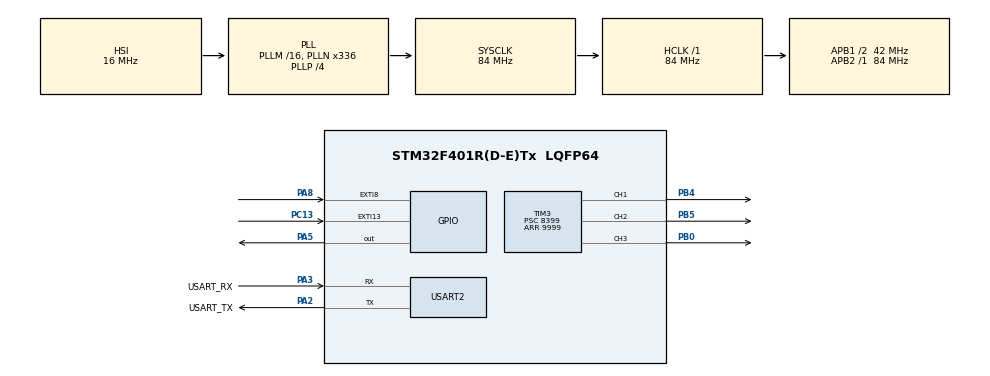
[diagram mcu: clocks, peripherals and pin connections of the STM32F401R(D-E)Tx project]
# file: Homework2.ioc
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Mcu.Family=STM32F4
Mcu.Name=STM32F401R(D-E)Tx
Mcu.Package=LQFP64
NVIC.EXTI15_10_IRQn=true\:0\:0\:false\:false\:true\:true\:true\:true
NVIC.EXTI9_5_IRQn=true\:0\:0\:false\:false\:true\:true\:true\:true
NVIC.PriorityGroup=NVIC_PRIORITYGROUP_0
NVIC.TIM3_IRQn=true\:0\:0\:false\:false\:true\:true\:true\:true
PA13.GPIO_Label=TMS
PA13.Mode=Serial_Wire
PA13.Signal=SYS_JTMS-SWDIO
PA14.GPIO_Label=TCK
PA14.Mode=Serial_Wire
PA14.Signal=SYS_JTCK-SWCLK
PA2.GPIO_Label=USART_TX
PA2.GPIO_Mode=GPIO_MODE_AF_PP
PA2.GPIO_PuPd=GPIO_NOPULL
PA2.GPIO_Speed=GPIO_SPEED_FREQ_LOW
PA2.Mode=Asynchronous
PA2.Signal=USART2_TX
PA3.GPIO_Label=USART_RX
PA3.GPIO_Mode=GPIO_MODE_AF_PP
PA3.GPIO_PuPd=GPIO_NOPULL
PA3.GPIO_Speed=GPIO_SPEED_FREQ_LOW
PA3.Mode=Asynchronous
PA3.Signal=USART2_RX
PA5.Signal=GPIO_Output
PA8.Signal=GPXTI8
PB0.Signal=S_TIM3_CH3
PB3.GPIO_Label=SWO
PB3.Signal=SYS_JTDO-SWO
PB4.Signal=S_TIM3_CH1
PB5.Signal=S_TIM3_CH2
PC13-ANTI_TAMP.GPIO_ModeDefaultEXTI=GPIO_MODE_IT_RISING_FALLING
PC13-ANTI_TAMP.Signal=GPXTI13
PC14-OSC32_IN.Mode=LSE-External-Oscillator
PC14-OSC32_IN.Signal=RCC_OSC32_IN
PC15-OSC32_OUT.Mode=LSE-External-Oscillator
PC15-OSC32_OUT.Signal=RCC_OSC32_OUT
PH0\ -\ OSC_IN.Mode=HSE-External-Clock-Source
PH0\ -\ OSC_IN.Signal=RCC_OSC_IN
PH1\ -\ OSC_OUT.Mode=HSE-External-Clock-Source
PH1\ -\ OSC_OUT.Signal=RCC_OSC_OUT
ProjectManager.HeapSize=0x200
ProjectManager.StackSize=0x400
ProjectManager.TargetToolchain=STM32CubeIDE
RCC.48MHZClocksFreq_Value=48000000
RCC.AHBFreq_Value=84000000
RCC.APB1CLKDivider=RCC_HCLK_DIV2
RCC.APB1Freq_Value=42000000
RCC.APB1TimFreq_Value=84000000
RCC.APB2Freq_Value=84000000
RCC.APB2TimFreq_Value=84000000
RCC.CortexFreq_Value=84000000
RCC.HCLKFreq_Value=84000000
RCC.HSE_VALUE=8000000
RCC.HSI_VALUE=16000000
RCC.PLLN=336
RCC.PLLP=RCC_PLLP_DIV4
RCC.PLLQ=7
RCC.SYSCLKFreq_VALUE=84000000
RCC.SYSCLKSource=RCC_SYSCLKSOURCE_PLLCLK
RCC.VCOOutputFreq_Value=336000000
SH.S_TIM3_CH1.0=TIM3_CH1,PWM Generation1 CH1
SH.S_TIM3_CH2.0=TIM3_CH2,PWM Generation2 CH2
SH.S_TIM3_CH3.0=TIM3_CH3,PWM Generation3 CH3
TIM2.AutoReloadPreload=TIM_AUTORELOAD_PRELOAD_DISABLE
TIM2.Period=9999
TIM2.Prescaler=8399
TIM3.Channel-PWM\ Generation1\ CH1=TIM_CHANNEL_1
TIM3.Channel-PWM\ Generation2\ CH2=TIM_CHANNEL_2
TIM3.Channel-PWM\ Generation3\ CH3=TIM_CHANNEL_3
TIM3.Period=9999
TIM3.Prescaler=8399
TIM3.Pulse-PWM\ Generation1\ CH1=999
TIM3.Pulse-PWM\ Generation2\ CH2=4999
TIM3.Pulse-PWM\ Generation3\ CH3=9999
USART2.VirtualMode=VM_ASYNC
VP_TIM2_VS_ClockSourceINT.Mode=Internal
board=NUCLEO-F401RE

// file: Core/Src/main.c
/* USER CODE BEGIN Header */
/**
  ******************************************************************************
  * @file           : main.c
  * @brief          : Main program body
  ******************************************************************************
  * @attention
  *
  * Copyright (c) 2024 STMicroelectronics.
  * All rights reserved.
  *
  * This software is licensed under terms that can be found in the LICENSE file
  * in the root directory of this software component.
  * If no LICENSE file comes with this software, it is provided AS-IS.
  *
  ******************************************************************************
  */
/* USER CODE END Header */
#include "main.h"

/* USER CODE BEGIN PD */
#define BluePB GPIOC, GPIO_PIN_13
#define LD2 GPIOA, GPIO_PIN_5
#define Mic GPIOC, GPIO_PIN_8
/* USER CODE END PD */

TIM_HandleTypeDef htim2;
TIM_HandleTypeDef htim3;

UART_HandleTypeDef huart2;

void SystemClock_Config(void);
static void MX_GPIO_Init(void);
static void MX_USART2_UART_Init(void);
static void MX_TIM2_Init(void);
static void MX_TIM3_Init(void);

/* USER CODE BEGIN 0 */
//int flag = 0;
int last_tick, tick, delta;

void HAL_GPIO_EXTI_Callback(uint16_t GPIO_Pin) {
	switch (GPIO_Pin) {
		 case GPIO_PIN_13: {
            //if (HAL_GPIO_ReadPin(BluePB) == GPIO_PIN_RESET) flag = !flag;
			//HAL_GPIO_WritePin(LD2, flag);
            HAL_GPIO_TogglePin(LD2);
            // NVIC -> Enable EXTI
            // EXTI -> Interrupt mode with Rising/Falling Edges
            break;
		 }
		 case GPIO_PIN_8: {
			 tick = HAL_GetTick();
				delta = tick - last_tick;
				if (delta >= 100) {
					HAL_GPIO_TogglePin(LD2);
					last_tick = tick;
				}
			 break;
		 }
        default:
            break;
	}
}
/* USER CODE END 0 */

int main(void)
{

  /* MCU Configuration--------------------------------------------------------*/

  /* Reset of all peripherals, Initializes the Flash interface and the Systick. */
  HAL_Init();

  /* Configure the system clock */
  SystemClock_Config();

  /* Initialize all configured peripherals */
  MX_GPIO_Init();
  MX_USART2_UART_Init();
  MX_TIM2_Init();
  MX_TIM3_Init();
  /* USER CODE BEGIN 2 */
  //HAL_TIM_PWM_Start(&htim2, TIM_CHANNEL_1);
  HAL_TIM_PWM_Start(&htim3, TIM_CHANNEL_1);
  HAL_TIM_PWM_Start(&htim3, TIM_CHANNEL_2);
  HAL_TIM_PWM_Start(&htim3, TIM_CHANNEL_3);
  /* USER CODE END 2 */

  /* Infinite loop */
  while (1)
  {

  }
}

void SystemClock_Config(void)
{
  RCC_OscInitTypeDef RCC_OscInitStruct = {0};
  RCC_ClkInitTypeDef RCC_ClkInitStruct = {0};

  /** Configure the main internal regulator output voltage
  */
  __HAL_RCC_PWR_CLK_ENABLE();
  __HAL_PWR_VOLTAGESCALING_CONFIG(PWR_REGULATOR_VOLTAGE_SCALE2);

  /** Initializes the RCC Oscillators according to the specified parameters
  * in the RCC_OscInitTypeDef structure.
  */
  RCC_OscInitStruct.OscillatorType = RCC_OSCILLATORTYPE_HSI;
  RCC_OscInitStruct.HSIState = RCC_HSI_ON;
  RCC_OscInitStruct.HSICalibrationValue = RCC_HSICALIBRATION_DEFAULT;
  RCC_OscInitStruct.PLL.PLLState = RCC_PLL_ON;
  RCC_OscInitStruct.PLL.PLLSource = RCC_PLLSOURCE_HSI;
  RCC_OscInitStruct.PLL.PLLM = 16;
  RCC_OscInitStruct.PLL.PLLN = 336;
  RCC_OscInitStruct.PLL.PLLP = RCC_PLLP_DIV4;
  RCC_OscInitStruct.PLL.PLLQ = 7;
  if (HAL_RCC_OscConfig(&RCC_OscInitStruct) != HAL_OK)
  {
    Error_Handler();
  }

  /** Initializes the CPU, AHB and APB buses clocks
  */
  RCC_ClkInitStruct.ClockType = RCC_CLOCKTYPE_HCLK|RCC_CLOCKTYPE_SYSCLK
                              |RCC_CLOCKTYPE_PCLK1|RCC_CLOCKTYPE_PCLK2;
  RCC_ClkInitStruct.SYSCLKSource = RCC_SYSCLKSOURCE_PLLCLK;
  RCC_ClkInitStruct.AHBCLKDivider = RCC_SYSCLK_DIV1;
  RCC_ClkInitStruct.APB1CLKDivider = RCC_HCLK_DIV2;
  RCC_ClkInitStruct.APB2CLKDivider = RCC_HCLK_DIV1;

  if (HAL_RCC_ClockConfig(&RCC_ClkInitStruct, FLASH_LATENCY_2) != HAL_OK)
  {
    Error_Handler();
  }
}

static void MX_TIM2_Init(void)
{

  TIM_ClockConfigTypeDef sClockSourceConfig = {0};
  TIM_MasterConfigTypeDef sMasterConfig = {0};

  htim2.Instance = TIM2;
  htim2.Init.Prescaler = 8399;
  htim2.Init.CounterMode = TIM_COUNTERMODE_UP;
  htim2.Init.Period = 9999;
  htim2.Init.ClockDivision = TIM_CLOCKDIVISION_DIV1;
  htim2.Init.AutoReloadPreload = TIM_AUTORELOAD_PRELOAD_DISABLE;
  if (HAL_TIM_Base_Init(&htim2) != HAL_OK)
  {
    Error_Handler();
  }
  sClockSourceConfig.ClockSource = TIM_CLOCKSOURCE_INTERNAL;
  if (HAL_TIM_ConfigClockSource(&htim2, &sClockSourceConfig) != HAL_OK)
  {
    Error_Handler();
  }
  sMasterConfig.MasterOutputTrigger = TIM_TRGO_RESET;
  sMasterConfig.MasterSlaveMode = TIM_MASTERSLAVEMODE_DISABLE;
  if (HAL_TIMEx_MasterConfigSynchronization(&htim2, &sMasterConfig) != HAL_OK)
  {
    Error_Handler();
  }

}

static void MX_TIM3_Init(void)
{

  TIM_MasterConfigTypeDef sMasterConfig = {0};
  TIM_OC_InitTypeDef sConfigOC = {0};

  htim3.Instance = TIM3;
  htim3.Init.Prescaler = 8399;
  htim3.Init.CounterMode = TIM_COUNTERMODE_UP;
  htim3.Init.Period = 9999;
  htim3.Init.ClockDivision = TIM_CLOCKDIVISION_DIV1;
  htim3.Init.AutoReloadPreload = TIM_AUTORELOAD_PRELOAD_DISABLE;
  if (HAL_TIM_PWM_Init(&htim3) != HAL_OK)
  {
    Error_Handler();
  }
  sMasterConfig.MasterOutputTrigger = TIM_TRGO_RESET;
  sMasterConfig.MasterSlaveMode = TIM_MASTERSLAVEMODE_DISABLE;
  if (HAL_TIMEx_MasterConfigSynchronization(&htim3, &sMasterConfig) != HAL_OK)
  {
    Error_Handler();
  }
  sConfigOC.OCMode = TIM_OCMODE_PWM1;
  sConfigOC.Pulse = 999;
  sConfigOC.OCPolarity = TIM_OCPOLARITY_HIGH;
  sConfigOC.OCFastMode = TIM_OCFAST_DISABLE;
  if (HAL_TIM_PWM_ConfigChannel(&htim3, &sConfigOC, TIM_CHANNEL_1) != HAL_OK)
  {
    Error_Handler();
  }
  sConfigOC.Pulse = 4999;
  if (HAL_TIM_PWM_ConfigChannel(&htim3, &sConfigOC, TIM_CHANNEL_2) != HAL_OK)
  {
    Error_Handler();
  }
  sConfigOC.Pulse = 9999;
  if (HAL_TIM_PWM_ConfigChannel(&htim3, &sConfigOC, TIM_CHANNEL_3) != HAL_OK)
  {
    Error_Handler();
  }
  HAL_TIM_MspPostInit(&htim3);

}

static void MX_USART2_UART_Init(void)
{

  huart2.Instance = USART2;
  huart2.Init.BaudRate = 115200;
  huart2.Init.WordLength = UART_WORDLENGTH_8B;
  huart2.Init.StopBits = UART_STOPBITS_1;
  huart2.Init.Parity = UART_PARITY_NONE;
  huart2.Init.Mode = UART_MODE_TX_RX;
  huart2.Init.HwFlowCtl = UART_HWCONTROL_NONE;
  huart2.Init.OverSampling = UART_OVERSAMPLING_16;
  if (HAL_UART_Init(&huart2) != HAL_OK)
  {
    Error_Handler();
  }

}

static void MX_GPIO_Init(void)
{
  GPIO_InitTypeDef GPIO_InitStruct = {0};

  /* GPIO Ports Clock Enable */
  __HAL_RCC_GPIOC_CLK_ENABLE();
  __HAL_RCC_GPIOH_CLK_ENABLE();
  __HAL_RCC_GPIOA_CLK_ENABLE();
  __HAL_RCC_GPIOB_CLK_ENABLE();

  /*Configure GPIO pin Output Level */
  HAL_GPIO_WritePin(GPIOA, GPIO_PIN_5, GPIO_PIN_RESET);

  /*Configure GPIO pin : PC13 */
  GPIO_InitStruct.Pin = GPIO_PIN_13;
  GPIO_InitStruct.Mode = GPIO_MODE_IT_RISING_FALLING;
  GPIO_InitStruct.Pull = GPIO_NOPULL;
  HAL_GPIO_Init(GPIOC, &GPIO_InitStruct);

  /*Configure GPIO pin : PA5 */
  GPIO_InitStruct.Pin = GPIO_PIN_5;
  GPIO_InitStruct.Mode = GPIO_MODE_OUTPUT_PP;
  GPIO_InitStruct.Pull = GPIO_NOPULL;
  GPIO_InitStruct.Speed = GPIO_SPEED_FREQ_LOW;
  HAL_GPIO_Init(GPIOA, &GPIO_InitStruct);

  /*Configure GPIO pin : PA8 */
  GPIO_InitStruct.Pin = GPIO_PIN_8;
  GPIO_InitStruct.Mode = GPIO_MODE_IT_RISING;
  GPIO_InitStruct.Pull = GPIO_NOPULL;
  HAL_GPIO_Init(GPIOA, &GPIO_InitStruct);

  /* EXTI interrupt init*/
  HAL_NVIC_SetPriority(EXTI9_5_IRQn, 0, 0);
  HAL_NVIC_EnableIRQ(EXTI9_5_IRQn);

  HAL_NVIC_SetPriority(EXTI15_10_IRQn, 0, 0);
  HAL_NVIC_EnableIRQ(EXTI15_10_IRQn);

}

void Error_Handler(void)
{
  __disable_irq();
  while (1)
  {
  }
}
